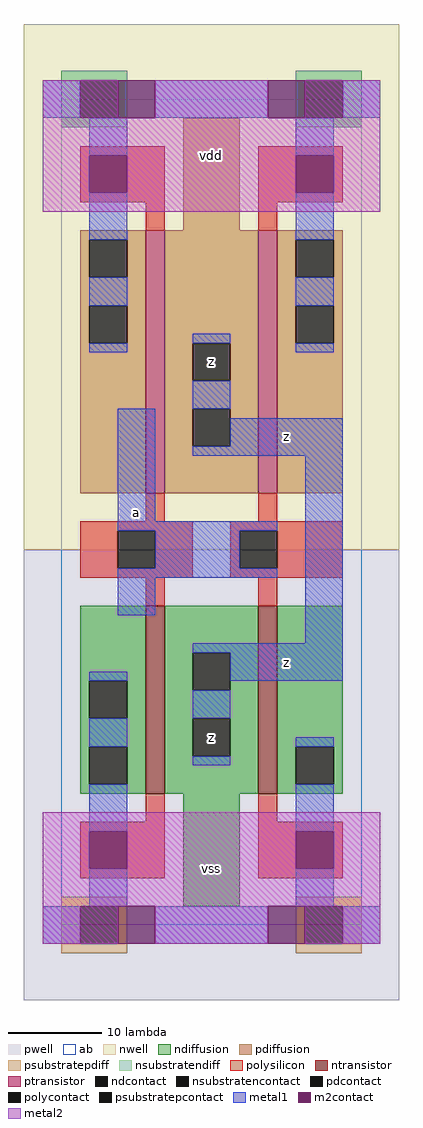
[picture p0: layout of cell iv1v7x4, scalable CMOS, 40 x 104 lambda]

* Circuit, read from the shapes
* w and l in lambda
.subckt iv1v7x4 a vdd vss z
M1 z a vss vss nfet w=20 l=2 m=2
M2 z a vdd vdd pfet w=28 l=2 m=2
.ends

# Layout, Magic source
magic
tech scmos
<< ab >>
rect 0 0 32 88
<< pwell >>
rect -4 -8 36 40
<< nwell >>
rect -4 40 36 96
<< polysilicon >>
rect 2 77 11 83
rect 9 74 11 77
rect 21 77 30 83
rect 21 74 23 77
rect 9 43 11 46
rect 21 43 23 46
rect 2 42 14 43
rect 2 38 6 42
rect 10 38 14 42
rect 2 37 14 38
rect 18 42 30 43
rect 18 38 19 42
rect 23 38 30 42
rect 18 37 30 38
rect 9 34 11 37
rect 21 34 23 37
rect 9 11 11 14
rect 2 5 11 11
rect 21 11 23 14
rect 21 5 30 11
<< ndiffusion >>
rect 2 26 9 34
rect 2 22 3 26
rect 7 22 9 26
rect 2 19 9 22
rect 2 15 3 19
rect 7 15 9 19
rect 2 14 9 15
rect 11 29 21 34
rect 11 25 14 29
rect 18 25 21 29
rect 11 22 21 25
rect 11 18 14 22
rect 18 18 21 22
rect 11 14 21 18
rect 23 19 30 34
rect 23 15 25 19
rect 29 15 30 19
rect 23 14 30 15
rect 13 2 19 14
<< pdiffusion >>
rect 13 74 19 86
rect 2 73 9 74
rect 2 69 3 73
rect 7 69 9 73
rect 2 66 9 69
rect 2 62 3 66
rect 7 62 9 66
rect 2 46 9 62
rect 11 62 21 74
rect 11 58 14 62
rect 18 58 21 62
rect 11 55 21 58
rect 11 51 14 55
rect 18 51 21 55
rect 11 46 21 51
rect 23 73 30 74
rect 23 69 25 73
rect 29 69 30 73
rect 23 66 30 69
rect 23 62 25 66
rect 29 62 30 66
rect 23 46 30 62
<< metal1 >>
rect -2 86 2 90
rect 10 86 22 90
rect 30 86 34 90
rect 3 82 7 86
rect 3 73 7 78
rect 3 66 7 69
rect 25 82 29 86
rect 25 73 29 78
rect 25 66 29 69
rect 3 61 7 62
rect 14 62 18 63
rect 25 61 29 62
rect 14 55 18 58
rect 6 43 10 55
rect 18 51 30 54
rect 14 50 30 51
rect 6 42 23 43
rect 10 38 19 42
rect 6 37 23 38
rect 6 33 10 37
rect 26 30 30 50
rect 14 29 30 30
rect 3 26 7 27
rect 3 19 7 22
rect 18 26 30 29
rect 14 22 18 25
rect 14 17 18 18
rect 25 19 29 20
rect 3 10 7 15
rect 3 2 7 6
rect 25 10 29 15
rect 25 2 29 6
rect -2 -2 2 2
rect 10 -2 22 2
rect 30 -2 34 2
<< metal2 >>
rect -2 86 6 90
rect 10 86 22 90
rect 26 86 34 90
rect -2 82 34 86
rect -2 78 3 82
rect 7 78 25 82
rect 29 78 34 82
rect -2 76 34 78
rect -2 10 34 12
rect -2 6 3 10
rect 7 6 25 10
rect 29 6 34 10
rect -2 2 34 6
rect -2 -2 6 2
rect 10 -2 22 2
rect 26 -2 34 2
<< ntransistor >>
rect 9 14 11 34
rect 21 14 23 34
<< ptransistor >>
rect 9 46 11 74
rect 21 46 23 74
<< polycontact >>
rect 6 38 10 42
rect 19 38 23 42
<< ndcontact >>
rect 3 22 7 26
rect 3 15 7 19
rect 14 25 18 29
rect 14 18 18 22
rect 25 15 29 19
<< pdcontact >>
rect 3 69 7 73
rect 3 62 7 66
rect 14 58 18 62
rect 14 51 18 55
rect 25 69 29 73
rect 25 62 29 66
<< m2contact >>
rect 6 86 10 90
rect 22 86 26 90
rect 3 78 7 82
rect 25 78 29 82
rect 3 6 7 10
rect 25 6 29 10
rect 6 -2 10 2
rect 22 -2 26 2
<< psubstratepcontact >>
rect 2 -2 6 2
rect 26 -2 30 2
<< nsubstratencontact >>
rect 2 86 6 90
rect 26 86 30 90
<< psubstratepdiff >>
rect 0 2 7 3
rect 25 2 32 3
rect 0 -2 2 2
rect 6 -2 7 2
rect 0 -3 7 -2
rect 25 -2 26 2
rect 30 -2 32 2
rect 25 -3 32 -2
<< nsubstratendiff >>
rect 0 90 7 91
rect 0 86 2 90
rect 6 86 7 90
rect 25 90 32 91
rect 25 86 26 90
rect 30 86 32 90
rect 0 85 7 86
rect 25 85 32 86
<< labels >>
rlabel metal1 8 44 8 44 6 a
rlabel ndcontact 16 20 16 20 6 z
rlabel pdcontact 16 60 16 60 6 z
rlabel metal1 24 28 24 28 6 z
rlabel metal1 24 52 24 52 6 z
rlabel metal2 16 6 16 6 6 vss
rlabel metal2 16 6 16 6 6 vss
rlabel metal2 16 82 16 82 6 vdd
<< end >>
